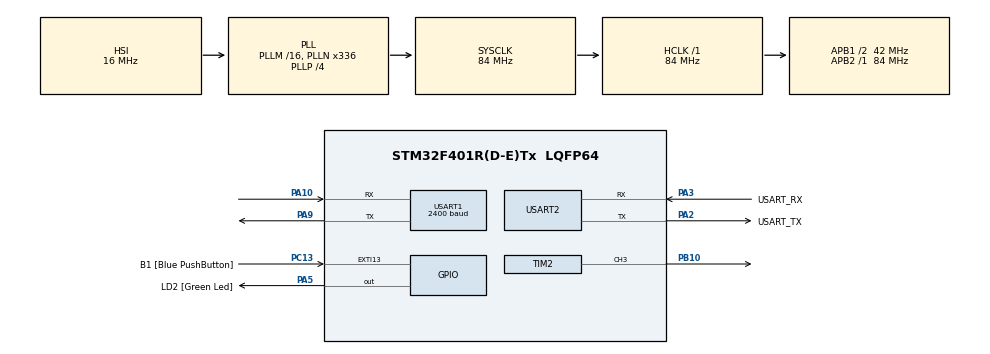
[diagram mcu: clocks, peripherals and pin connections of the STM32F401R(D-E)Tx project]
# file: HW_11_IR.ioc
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Mcu.Family=STM32F4
Mcu.Name=STM32F401R(D-E)Tx
Mcu.Package=LQFP64
NVIC.PriorityGroup=NVIC_PRIORITYGROUP_0
NVIC.TIM2_IRQn=true\:0\:0\:false\:false\:true\:true\:true\:true
NVIC.TIM3_IRQn=true\:0\:0\:false\:false\:true\:true\:true\:true
NVIC.USART1_IRQn=true\:0\:0\:false\:false\:true\:true\:true\:true
NVIC.USART2_IRQn=true\:0\:0\:false\:false\:true\:true\:true\:true
PA10.Mode=Asynchronous
PA10.Signal=USART1_RX
PA13.GPIO_Label=TMS
PA13.Mode=Serial_Wire
PA13.Signal=SYS_JTMS-SWDIO
PA14.GPIO_Label=TCK
PA14.Mode=Serial_Wire
PA14.Signal=SYS_JTCK-SWCLK
PA2.GPIO_Label=USART_TX
PA2.GPIO_Mode=GPIO_MODE_AF_PP
PA2.GPIO_PuPd=GPIO_NOPULL
PA2.GPIO_Speed=GPIO_SPEED_FREQ_LOW
PA2.Mode=Asynchronous
PA2.Signal=USART2_TX
PA3.GPIO_Label=USART_RX
PA3.GPIO_Mode=GPIO_MODE_AF_PP
PA3.GPIO_PuPd=GPIO_NOPULL
PA3.GPIO_Speed=GPIO_SPEED_FREQ_LOW
PA3.Mode=Asynchronous
PA3.Signal=USART2_RX
PA5.GPIO_Label=LD2 [Green Led]
PA5.GPIO_Mode=GPIO_MODE_OUTPUT_PP
PA5.GPIO_PuPd=GPIO_NOPULL
PA5.GPIO_Speed=GPIO_SPEED_FREQ_LOW
PA5.Signal=GPIO_Output
PA9.Mode=Asynchronous
PA9.Signal=USART1_TX
PB10.Signal=S_TIM2_CH3
PB3.GPIO_Label=SWO
PB3.Signal=SYS_JTDO-SWO
PC13-ANTI_TAMP.GPIO_Label=B1 [Blue PushButton]
PC13-ANTI_TAMP.GPIO_ModeDefaultEXTI=GPIO_MODE_IT_FALLING
PC13-ANTI_TAMP.GPIO_PuPd=GPIO_NOPULL
PC13-ANTI_TAMP.Signal=GPXTI13
PC14-OSC32_IN.Mode=LSE-External-Oscillator
PC14-OSC32_IN.Signal=RCC_OSC32_IN
PC15-OSC32_OUT.Mode=LSE-External-Oscillator
PC15-OSC32_OUT.Signal=RCC_OSC32_OUT
PH0\ -\ OSC_IN.Mode=HSE-External-Clock-Source
PH0\ -\ OSC_IN.Signal=RCC_OSC_IN
PH1\ -\ OSC_OUT.Mode=HSE-External-Clock-Source
PH1\ -\ OSC_OUT.Signal=RCC_OSC_OUT
ProjectManager.HeapSize=0x200
ProjectManager.StackSize=0x400
ProjectManager.TargetToolchain=STM32CubeIDE
RCC.48MHZClocksFreq_Value=48000000
RCC.AHBFreq_Value=84000000
RCC.APB1CLKDivider=RCC_HCLK_DIV2
RCC.APB1Freq_Value=42000000
RCC.APB1TimFreq_Value=84000000
RCC.APB2Freq_Value=84000000
RCC.APB2TimFreq_Value=84000000
RCC.CortexFreq_Value=84000000
RCC.HCLKFreq_Value=84000000
RCC.HSE_VALUE=8000000
RCC.HSI_VALUE=16000000
RCC.PLLN=336
RCC.PLLP=RCC_PLLP_DIV4
RCC.PLLQ=7
RCC.SYSCLKFreq_VALUE=84000000
RCC.SYSCLKSource=RCC_SYSCLKSOURCE_PLLCLK
RCC.VCOOutputFreq_Value=336000000
SH.S_TIM2_CH3.0=TIM2_CH3,PWM Generation3 CH3
TIM2.Channel-PWM\ Generation3\ CH3=TIM_CHANNEL_3
TIM2.OCMode_PWM-PWM\ Generation3\ CH3=TIM_OCMODE_PWM2
TIM2.Period=2211-1
TIM2.Prescaler=0
TIM2.Pulse-PWM\ Generation3\ CH3=1105
TIM3.Period=35000-1
USART1.BaudRate=2400
USART1.VirtualMode=VM_ASYNC
USART2.VirtualMode=VM_ASYNC
VP_TIM2_VS_ClockSourceINT.Mode=Internal
VP_TIM3_VS_ClockSourceINT.Mode=Internal
board=NUCLEO-F401RE

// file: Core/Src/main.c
/* USER CODE BEGIN Header */
/**
 ******************************************************************************
 * @file           : main.c
 * @brief          : Main program body
 ******************************************************************************
 * @attention
 *
 * Copyright (c) 2022 STMicroelectronics.
 * All rights reserved.
 *
 * This software is licensed under terms that can be found in the LICENSE file
 * in the root directory of this software component.
 * If no LICENSE file comes with this software, it is provided AS-IS.
 *
 ******************************************************************************
 */
/* USER CODE END Header */
#include "main.h"

TIM_HandleTypeDef htim2;
TIM_HandleTypeDef htim3;

UART_HandleTypeDef huart1;
UART_HandleTypeDef huart2;

void SystemClock_Config(void);
static void MX_GPIO_Init(void);
static void MX_USART2_UART_Init(void);
static void MX_TIM2_Init(void);
static void MX_TIM3_Init(void);
static void MX_USART1_UART_Init(void);

/* USER CODE BEGIN 0 */
// custom functions to send the strings, one byte at a time
void transmit_string_IR(char string[]);
void transmit_byte_IR(char byte);

char receivedByte;

//flag that indicates when a baud period has elapsed
int elapsedBaud = 0;

//transmits the string char by char
void transmit_string_IR(char string[]) {
	for (int j = 0; string[j] != '\0'; j++) {
		// transmits 1 char every millisecond
		transmit_byte_IR(string[j]);
		HAL_Delay(1);
	}
}

// transmits 1 byte via infrared sensor using UART1 interface
void transmit_byte_IR(char byte) {

	//Start the baud rate counter (2400bps)
	elapsedBaud = 1;
	HAL_TIM_Base_Start_IT(&htim3);
	while (elapsedBaud == 0) {
		//wait one baud period to sync -> useful for the first transmission
	}

	//transmit START signal ('0')
	HAL_TIM_PWM_Start(&htim2, TIM_CHANNEL_3);
	elapsedBaud = 0;
	while (elapsedBaud == 0) {
		//wait for a baud period
	}

	//transmit the bits
	for (int i = 0; i < 8; i++) {
		if ((byte & (0x1 << i)) == 0) {
			//send a zero -> start PWM
			HAL_TIM_PWM_Start(&htim2, TIM_CHANNEL_3);
		} else {
			//send a '1' -> stop PWM
			HAL_TIM_PWM_Stop(&htim2, TIM_CHANNEL_3);
		}
		elapsedBaud = 0;
		while (elapsedBaud == 0) {
			//wait for a baud period
		}
	}

	//Send the Stop bit '1'
	HAL_TIM_PWM_Stop(&htim2, TIM_CHANNEL_3);
	while (elapsedBaud == 0) {
		//wait for a baud period
	}

	//stop timer for baud rate
	HAL_TIM_Base_Stop_IT(&htim3);
	elapsedBaud = 0;

}

// uses timer 3 to wait for a baud period, very 4ms approximately (1/2400 s)
void HAL_TIM_PeriodElapsedCallback(TIM_HandleTypeDef *htim) {
	if (htim == &htim3) {
		// goes to the next bit in the sequence of characters
		elapsedBaud = 1;
	}

}

//Re-transmit the received data to PC using UART2
void HAL_UART_RxCpltCallback(UART_HandleTypeDef *huart) {
	// if the interrupt comes from the IR receiver on UART1
	if (huart == &huart1) {
		HAL_UART_Receive_IT(&huart1, (uint8_t*) &receivedByte, 1);
		char received = receivedByte;
		// uses UART2 to transmit data to the PC
		HAL_UART_Transmit(&huart2, (uint8_t*) &received, 1, 10);

	}
}

/* USER CODE END 0 */

int main(void)
{

  /* MCU Configuration--------------------------------------------------------*/

  /* Reset of all peripherals, Initializes the Flash interface and the Systick. */
  HAL_Init();

  /* Configure the system clock */
  SystemClock_Config();

  /* Initialize all configured peripherals */
  MX_GPIO_Init();
  MX_USART2_UART_Init();
  MX_TIM2_Init();
  MX_TIM3_Init();
  MX_USART1_UART_Init();
  /* USER CODE BEGIN 2 */

	// sets interrupt for IR reception via UART1 interface, receives 1 byte at a time
	HAL_UART_Receive_IT(&huart1, (uint8_t*) &receivedByte, 1);

  /* USER CODE END 2 */

  /* Infinite loop */
  /* USER CODE BEGIN WHILE */
	while (1) {
		char stringToSend[] = "Hello from Simone, Giacomo, Luca, Johanna, Claudio! \r\n";
		// transmits string via IR to the receiver every 1 second
		transmit_string_IR(stringToSend);
		HAL_Delay(1000);

    /* USER CODE END WHILE */

	}
}

void SystemClock_Config(void)
{
  RCC_OscInitTypeDef RCC_OscInitStruct = {0};
  RCC_ClkInitTypeDef RCC_ClkInitStruct = {0};

  /** Configure the main internal regulator output voltage
  */
  __HAL_RCC_PWR_CLK_ENABLE();
  __HAL_PWR_VOLTAGESCALING_CONFIG(PWR_REGULATOR_VOLTAGE_SCALE2);

  /** Initializes the RCC Oscillators according to the specified parameters
  * in the RCC_OscInitTypeDef structure.
  */
  RCC_OscInitStruct.OscillatorType = RCC_OSCILLATORTYPE_HSI;
  RCC_OscInitStruct.HSIState = RCC_HSI_ON;
  RCC_OscInitStruct.HSICalibrationValue = RCC_HSICALIBRATION_DEFAULT;
  RCC_OscInitStruct.PLL.PLLState = RCC_PLL_ON;
  RCC_OscInitStruct.PLL.PLLSource = RCC_PLLSOURCE_HSI;
  RCC_OscInitStruct.PLL.PLLM = 16;
  RCC_OscInitStruct.PLL.PLLN = 336;
  RCC_OscInitStruct.PLL.PLLP = RCC_PLLP_DIV4;
  RCC_OscInitStruct.PLL.PLLQ = 7;
  if (HAL_RCC_OscConfig(&RCC_OscInitStruct) != HAL_OK)
  {
    Error_Handler();
  }

  /** Initializes the CPU, AHB and APB buses clocks
  */
  RCC_ClkInitStruct.ClockType = RCC_CLOCKTYPE_HCLK|RCC_CLOCKTYPE_SYSCLK
                              |RCC_CLOCKTYPE_PCLK1|RCC_CLOCKTYPE_PCLK2;
  RCC_ClkInitStruct.SYSCLKSource = RCC_SYSCLKSOURCE_PLLCLK;
  RCC_ClkInitStruct.AHBCLKDivider = RCC_SYSCLK_DIV1;
  RCC_ClkInitStruct.APB1CLKDivider = RCC_HCLK_DIV2;
  RCC_ClkInitStruct.APB2CLKDivider = RCC_HCLK_DIV1;

  if (HAL_RCC_ClockConfig(&RCC_ClkInitStruct, FLASH_LATENCY_2) != HAL_OK)
  {
    Error_Handler();
  }
}

static void MX_TIM2_Init(void)
{

  TIM_ClockConfigTypeDef sClockSourceConfig = {0};
  TIM_MasterConfigTypeDef sMasterConfig = {0};
  TIM_OC_InitTypeDef sConfigOC = {0};

  htim2.Instance = TIM2;
  htim2.Init.Prescaler = 0;
  htim2.Init.CounterMode = TIM_COUNTERMODE_UP;
  htim2.Init.Period = 2211-1;
  htim2.Init.ClockDivision = TIM_CLOCKDIVISION_DIV1;
  htim2.Init.AutoReloadPreload = TIM_AUTORELOAD_PRELOAD_DISABLE;
  if (HAL_TIM_Base_Init(&htim2) != HAL_OK)
  {
    Error_Handler();
  }
  sClockSourceConfig.ClockSource = TIM_CLOCKSOURCE_INTERNAL;
  if (HAL_TIM_ConfigClockSource(&htim2, &sClockSourceConfig) != HAL_OK)
  {
    Error_Handler();
  }
  if (HAL_TIM_PWM_Init(&htim2) != HAL_OK)
  {
    Error_Handler();
  }
  sMasterConfig.MasterOutputTrigger = TIM_TRGO_RESET;
  sMasterConfig.MasterSlaveMode = TIM_MASTERSLAVEMODE_DISABLE;
  if (HAL_TIMEx_MasterConfigSynchronization(&htim2, &sMasterConfig) != HAL_OK)
  {
    Error_Handler();
  }
  sConfigOC.OCMode = TIM_OCMODE_PWM2;
  sConfigOC.Pulse = 1105;
  sConfigOC.OCPolarity = TIM_OCPOLARITY_HIGH;
  sConfigOC.OCFastMode = TIM_OCFAST_DISABLE;
  if (HAL_TIM_PWM_ConfigChannel(&htim2, &sConfigOC, TIM_CHANNEL_3) != HAL_OK)
  {
    Error_Handler();
  }
  HAL_TIM_MspPostInit(&htim2);

}

static void MX_TIM3_Init(void)
{

  TIM_ClockConfigTypeDef sClockSourceConfig = {0};
  TIM_MasterConfigTypeDef sMasterConfig = {0};

  htim3.Instance = TIM3;
  htim3.Init.Prescaler = 0;
  htim3.Init.CounterMode = TIM_COUNTERMODE_UP;
  htim3.Init.Period = 35000-1;
  htim3.Init.ClockDivision = TIM_CLOCKDIVISION_DIV1;
  htim3.Init.AutoReloadPreload = TIM_AUTORELOAD_PRELOAD_DISABLE;
  if (HAL_TIM_Base_Init(&htim3) != HAL_OK)
  {
    Error_Handler();
  }
  sClockSourceConfig.ClockSource = TIM_CLOCKSOURCE_INTERNAL;
  if (HAL_TIM_ConfigClockSource(&htim3, &sClockSourceConfig) != HAL_OK)
  {
    Error_Handler();
  }
  sMasterConfig.MasterOutputTrigger = TIM_TRGO_RESET;
  sMasterConfig.MasterSlaveMode = TIM_MASTERSLAVEMODE_DISABLE;
  if (HAL_TIMEx_MasterConfigSynchronization(&htim3, &sMasterConfig) != HAL_OK)
  {
    Error_Handler();
  }

}

static void MX_USART1_UART_Init(void)
{

  huart1.Instance = USART1;
  huart1.Init.BaudRate = 2400;
  huart1.Init.WordLength = UART_WORDLENGTH_8B;
  huart1.Init.StopBits = UART_STOPBITS_1;
  huart1.Init.Parity = UART_PARITY_NONE;
  huart1.Init.Mode = UART_MODE_TX_RX;
  huart1.Init.HwFlowCtl = UART_HWCONTROL_NONE;
  huart1.Init.OverSampling = UART_OVERSAMPLING_16;
  if (HAL_UART_Init(&huart1) != HAL_OK)
  {
    Error_Handler();
  }

}

static void MX_USART2_UART_Init(void)
{

  huart2.Instance = USART2;
  huart2.Init.BaudRate = 115200;
  huart2.Init.WordLength = UART_WORDLENGTH_8B;
  huart2.Init.StopBits = UART_STOPBITS_1;
  huart2.Init.Parity = UART_PARITY_NONE;
  huart2.Init.Mode = UART_MODE_TX_RX;
  huart2.Init.HwFlowCtl = UART_HWCONTROL_NONE;
  huart2.Init.OverSampling = UART_OVERSAMPLING_16;
  if (HAL_UART_Init(&huart2) != HAL_OK)
  {
    Error_Handler();
  }

}

static void MX_GPIO_Init(void)
{
  GPIO_InitTypeDef GPIO_InitStruct = {0};

  /* GPIO Ports Clock Enable */
  __HAL_RCC_GPIOC_CLK_ENABLE();
  __HAL_RCC_GPIOH_CLK_ENABLE();
  __HAL_RCC_GPIOA_CLK_ENABLE();
  __HAL_RCC_GPIOB_CLK_ENABLE();

  /*Configure GPIO pin Output Level */
  HAL_GPIO_WritePin(LD2_GPIO_Port, LD2_Pin, GPIO_PIN_RESET);

  /*Configure GPIO pin : B1_Pin */
  GPIO_InitStruct.Pin = B1_Pin;
  GPIO_InitStruct.Mode = GPIO_MODE_IT_FALLING;
  GPIO_InitStruct.Pull = GPIO_NOPULL;
  HAL_GPIO_Init(B1_GPIO_Port, &GPIO_InitStruct);

  /*Configure GPIO pin : LD2_Pin */
  GPIO_InitStruct.Pin = LD2_Pin;
  GPIO_InitStruct.Mode = GPIO_MODE_OUTPUT_PP;
  GPIO_InitStruct.Pull = GPIO_NOPULL;
  GPIO_InitStruct.Speed = GPIO_SPEED_FREQ_LOW;
  HAL_GPIO_Init(LD2_GPIO_Port, &GPIO_InitStruct);

}

void Error_Handler(void)
{
	__disable_irq();
	while (1) {
	}
}
